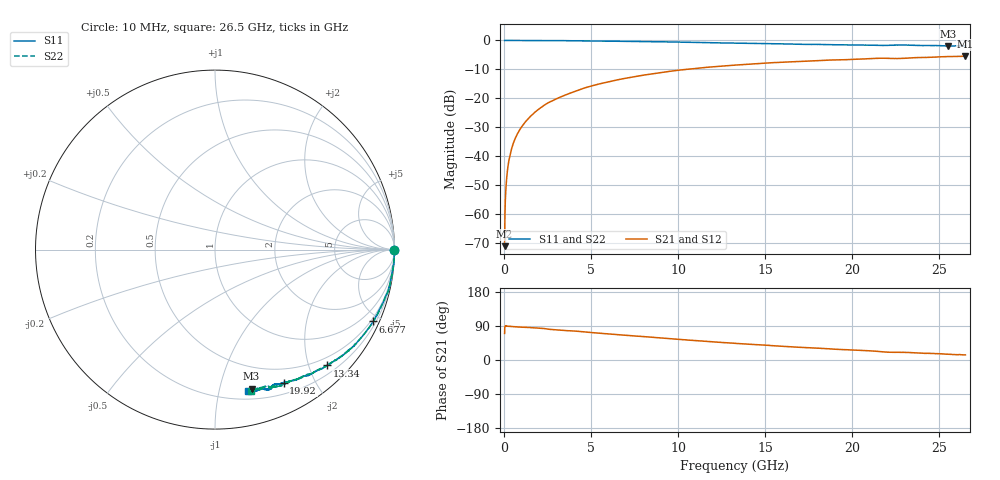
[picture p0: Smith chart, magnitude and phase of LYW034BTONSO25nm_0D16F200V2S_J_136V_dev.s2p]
!Keysight Technologies,N5222B,MY61253708,A.15.00.15
!Date: Wednesday, June 19, 2024 10:00:35
!Correction: S11(C  2-Port  )
!S21(C  2-Port  )
!S12(C  2-Port  )
!S22(C  2-Port  )
!S2P File: Measurements: S11, S21, S12, S22:
# Hz S  RI  R 50
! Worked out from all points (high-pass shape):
!   2651 points, 10 MHz to 26.5 GHz, reference 50 ohm
!   highest |S21| = -5.40 dB at 26.5 GHz (marker M1); lowest = -71.0 dB at 10 MHz (marker M2)
!   |S21| within 3 dB of the highest: 13.56 GHz to end of sweep
!   lowest |S11| = -1.9 dB at 25.5 GHz (marker M3), VSWR 9.04, Z = 14.5 - j62.8 ohm
!   |S11| at or under -10 dB: nowhere
!   |S22| runs from -1.9 to 0.0 dB; largest |S21 - S12| = 0.0061
!   S11 on the Smith chart (normalised r, x): 10 MHz: open; 6.677 GHz: 0.37, -4.59; 13.34 GHz: 0.35, -2.32; 19.92 GHz: 0.32, -1.59; 26.5 GHz: 0.27, -1.22
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1e7  0.9987 -0.00286  9.54e-05 0.000264  -7.33e-05 0.000409  0.9985 -0.00114
6.997736e7  1 -0.0051  2.05e-05 0.00227  4.38e-05 0.00228  0.9997 -0.0047
1.599434e8  0.9999 -0.0113  6.83e-05 0.00526  4.54e-05 0.00529  0.9997 -0.0105
1.999283e8  0.9999 -0.0135  8.87e-05 0.00657  8.53e-05 0.00661  0.9997 -0.0127
2.599057e8  0.9997 -0.0176  0.000188 0.00858  0.000139 0.00863  0.9996 -0.0167
3.598679e8  0.9995 -0.0245  0.000309 0.0119  0.000271 0.0119  0.9996 -0.0236
4.898189e8  0.9988 -0.0329  0.000528 0.0161  0.000515 0.0162  0.9986 -0.0316
6.497585e8  0.9986 -0.0431  0.000915 0.0213  0.000867 0.0214  0.9986 -0.0416
8.396868e8  0.998 -0.0556  0.00144 0.0274  0.00148 0.0275  0.998 -0.0547
1.459453e9  0.9909 -0.0977  0.00356 0.0479  0.00358 0.0481  0.9933 -0.093
2.329125e9  0.9823 -0.1508  0.00976 0.077  0.00994 0.0775  0.9836 -0.1503
3.208792e9  0.9712 -0.2066  0.0207 0.1031  0.0209 0.1037  0.972 -0.2044
4.428332e9  0.9433 -0.2793  0.0378 0.1405  0.0381 0.1412  0.9457 -0.2751
6.677483e9  0.8811 -0.4  0.0865 0.196  0.0875 0.1965  0.8842 -0.3975
8.846664e9  0.8052 -0.5009  0.1431 0.2356  0.1444 0.2361  0.8086 -0.497
1.3255e10  0.6299 -0.6416  0.2697 0.2608  0.2716 0.2603  0.6369 -0.638
1.334497e10  0.6249 -0.6456  0.2727 0.2603  0.2739 0.2598  0.6323 -0.6401
1.767333e10  0.4583 -0.7221  0.3761 0.2341  0.379 0.2322  0.4728 -0.7181
1.992248e10  0.3825 -0.745  0.4208 0.2103  0.4225 0.2072  0.4002 -0.7403
2.209166e10  0.3228 -0.7557  0.4592 0.1728  0.4606 0.1696  0.3214 -0.7614
2.550038e10  0.2038 -0.7744  0.5089 0.1367  0.51 0.1358  0.2285 -0.777
2.65e10  0.184 -0.788  0.5222 0.1252  0.5215 0.1213  0.202 -0.7868
